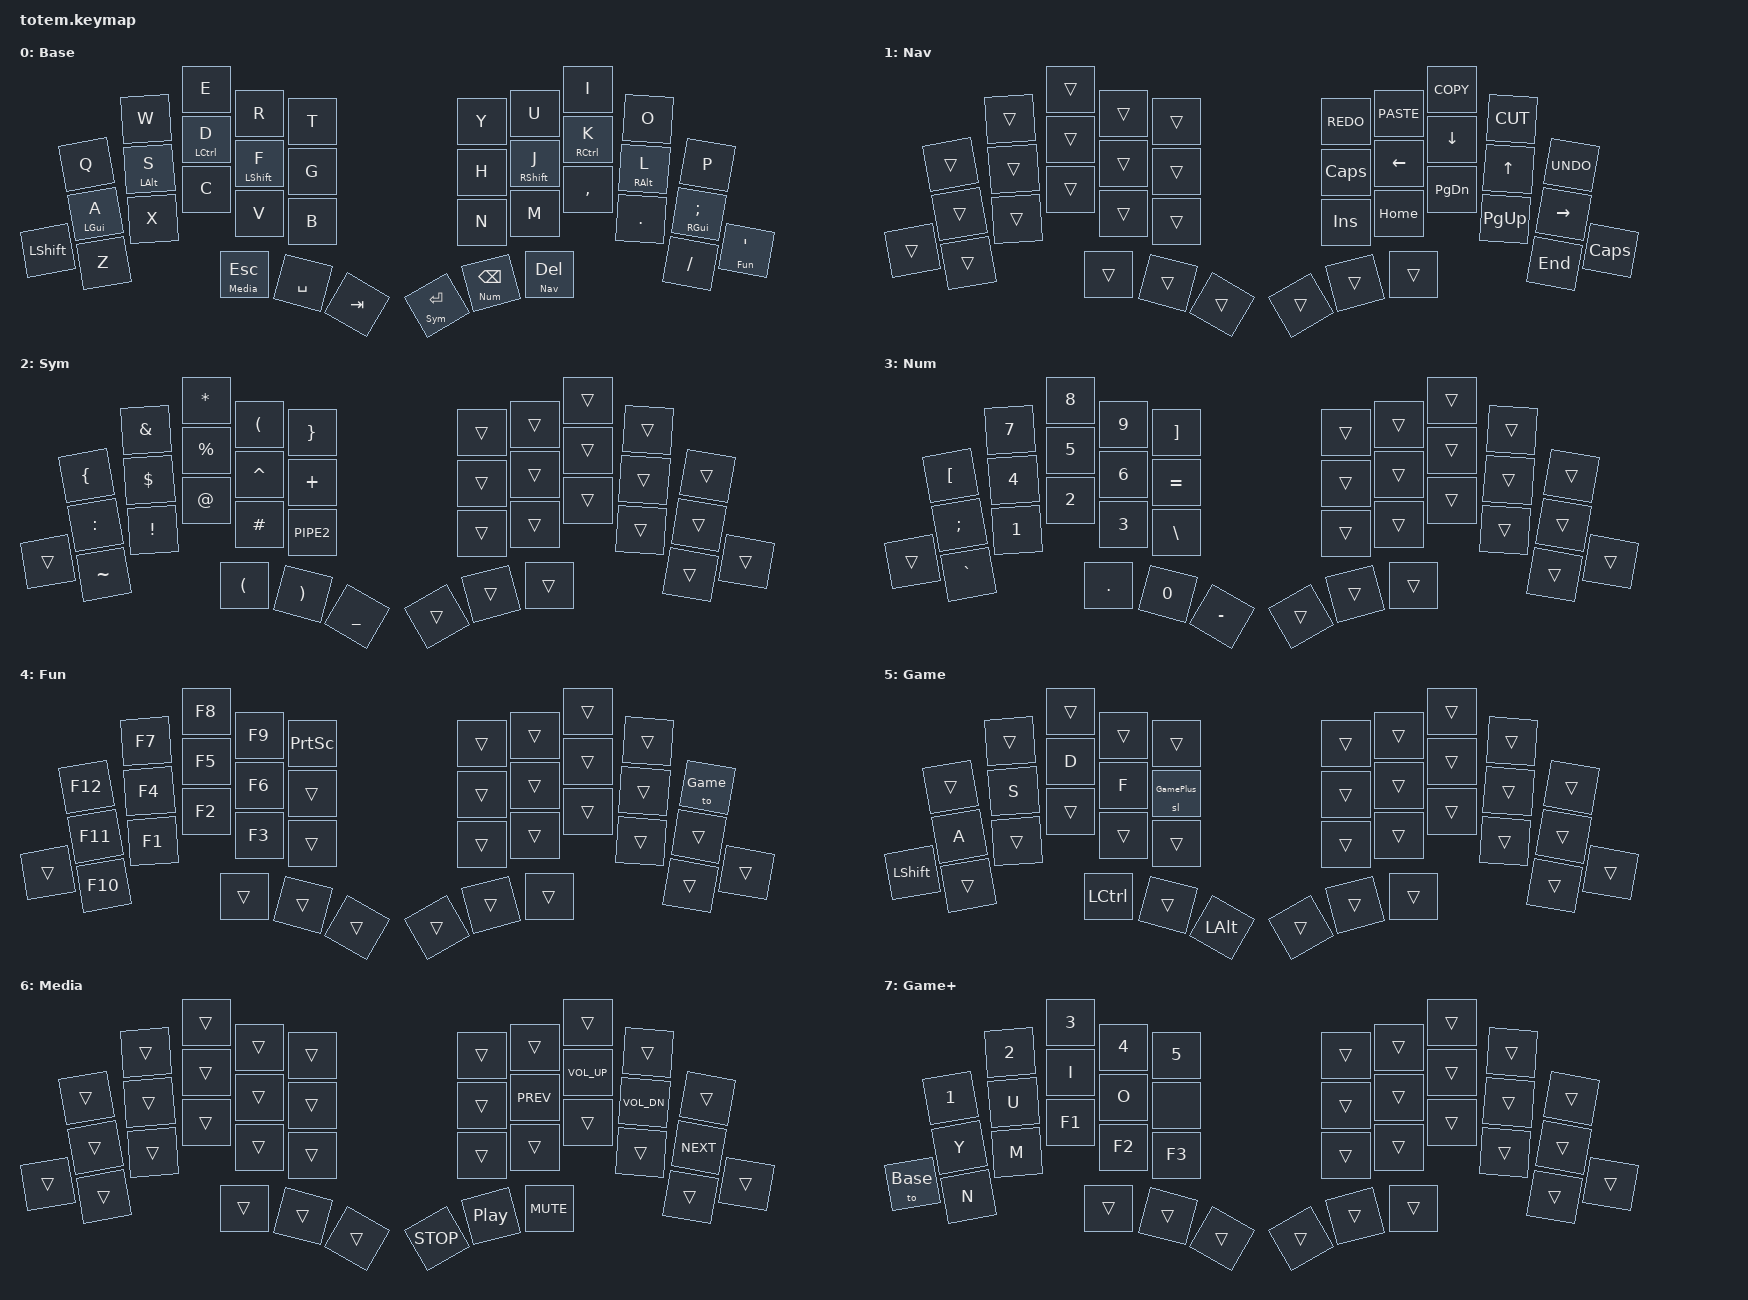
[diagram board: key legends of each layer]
//
//                                                        ▀▀▀▀▀     ▀▀▀▀▀          ▀▀█▀▀
//                                                        ▄▀▀▀▄  ▄  ▄▀▀▀▄  ▄  ▄▀▀▀▄  █  ▄▀▀▀▄
//                                                        █   █  █  █   █  █  █   █  █  █   █
//                                                         ▀▀▀   █   ▀▀▀   █   ▀▀▀   ▀   ▀▀▀
//                                                               █      ▄▄▄█▄▄▄    █   █  
//                                                               ▀      █  █  █     █▄█
//                                                             ▀▀▀▀▀    █  █  █      ▀
//                                                                      ▀  ▀  ▀
//
// ▄▄▄▄▄▄▄▄▄▄▄▄▄▄▄▄▄▄▄▄▄▄▄▄▄▄▄▄▄▄▄▄▄▄▄▄▄▄▄▄▄▄▄▄▄▄▄▄▄▄▄▄▄▄▄▄▄▄▄▄▄▄▄▄▄▄▄▄▄▄▄▄▄▄▄▄▄▄▄▄▄▄▄▄▄▄▄▄▄▄▄▄▄▄▄▄▄▄▄▄▄▄▄▄▄▄▄▄▄▄▄▄▄▄▄▄▄▄▄▄▄▄▄▄▄▄▄▄▄▄▄▄▄▄▄▄▄▄▄▄▄▄▄▄▄▄▄▄▄

#include <behaviors.dtsi>
#include <dt-bindings/zmk/bt.h>
#include <dt-bindings/zmk/ext_power.h>
#include <dt-bindings/zmk/keys.h>

#include "includes/key-labels.h"

#define Base        0
#define Nav         1
#define Sym         2
#define Num         3
#define Fun         4
#define Game        5
#define Media       6
#define GamePlus    7

&mt {
    quick-tap-ms = <100>;
    global-quick-tap;
    flavor = "tap-preferred";
    tapping-term-ms = <170>;
};

&lt {
    tapping-term-ms = <240>;
    flavor = "balanced";
    quick-tap-ms = <150>;
};

/ {
    behaviors {
        hml: homerow_mods_left {
            compatible = "zmk,behavior-hold-tap";
            #binding-cells = <2>;
            bindings =
                <&kp>,
                <&kp>;

            flavor = "balanced";
            tapping-term-ms = <190>;
            quick-tap-ms = <175>;
            require-prior-idle-ms = <150>;

            hold-trigger-key-positions = <KEYS_R KEYS_T>;
            hold-trigger-on-release;
        };

        hmr: homerow_mods_right {
            compatible = "zmk,behavior-hold-tap";
            #binding-cells = <2>;
            bindings =
                <&kp>,
                <&kp>;

            flavor = "balanced";
            tapping-term-ms = <190>;
            quick-tap-ms = <175>;
            require-prior-idle-ms = <150>;

            hold-trigger-key-positions = <KEYS_L KEYS_T>;
            hold-trigger-on-release;
        };
    };

    keymap {
        compatible = "zmk,keymap";

        Base {
            display-name = "Base";
            bindings = <
//           ┌─────────────┬─────────────┬──────────────┬─────────────┬─────┐   ┌────────────┬─────────────┬─────────────┬─────────────┬─────────────┐           
//           │      Q      │      W      │      E       │      R      │  T  │   │     Y      │      U      │      I      │      O      │      P      │           
//           ├─────────────┼─────────────┼──────────────┼─────────────┼─────┤   ├────────────┼─────────────┼─────────────┼─────────────┼─────────────┤           
//           │ &hml lgui A │ &hml lalt S │ &hml lctl D  │ &hml lsft F │  G  │   │     H      │ &hmr rsft J │ &hmr rctl K │ &hmr ralt L │ &hmr rgui ; │           
//    ┌──────┼─────────────┼─────────────┼──────────────┼─────────────┼─────┤   ├────────────┼─────────────┼─────────────┼─────────────┼─────────────┼──────────┐
//    │ lsft │      Z      │      X      │      C       │      V      │  B  │   │     N      │      M      │      ,      │      .      │      /      │ lt Fun ' │
//    └──────┴─────────────┴─────────────┼──────────────┼─────────────┼─────┤   ├────────────┼─────────────┼─────────────┼─────────────┴─────────────┴──────────┘
//                                       │ lt Media esc │     spc     │ tab │   │ lt Sym ent │ lt Num bspc │ lt Nav del  │                                       
//                                       └──────────────┴─────────────┴─────┘   └────────────┴─────────────┴─────────────┘                                       
               &kp Q         &kp W         &kp E              &kp R           &kp T         &kp Y         &kp U          &kp I          &kp O         &kp P                                   
               &hml LGUI A   &hml LALT S   &hml LCTRL D       &hml LSHIFT F   &kp G         &kp H         &hmr RSHFT J   &hmr RCTRL K   &hmr RALT L   &hmr RGUI SEMICOLON                     
  &kp LSHIFT   &kp Z         &kp X         &kp C              &kp V           &kp B         &kp N         &kp M          &kp COMMA      &kp DOT       &kp SLASH             &lt Fun APOSTROPHE
                                           &lt Media ESCAPE   &kp SPACE       &kp TAB       &lt Sym RET   &lt Num BSPC   &lt Nav DEL                                                          
            >;
        };

        Nav {
            display-name = "Nav";
            bindings = <
//          ┌─────┬─────┬─────┬─────┬─────┐   ┌───────┬─────────┬──────┬──────┬──────┐      
//          │     │     │     │     │     │   │ again │ K_PASTE │ copy │ cut  │ undo │      
//          ├─────┼─────┼─────┼─────┼─────┤   ├───────┼─────────┼──────┼──────┼──────┤      
//          │     │     │     │     │     │   │ caps  │  left   │ down │  up  │ rght │      
//    ┌─────┼─────┼─────┼─────┼─────┼─────┤   ├───────┼─────────┼──────┼──────┼──────┼─────┐
//    │     │     │     │     │     │     │   │  ins  │  home   │ pgdn │ pgup │ end  │     │
//    └─────┴─────┴─────┼─────┼─────┼─────┤   ├───────┼─────────┼──────┼──────┴──────┴─────┘
//                      │     │     │     │   │       │         │      │                    
//                      └─────┴─────┴─────┘   └───────┴─────────┴──────┘                    
           &trans   &trans   &trans   &trans   &trans       &kp K_REDO   &kp K_PASTE   &kp K_COPY   &kp K_CUT   &kp K_UNDO         
           &trans   &trans   &trans   &trans   &trans       &kp CAPS     &kp LEFT      &kp DOWN     &kp UP      &kp RIGHT          
  &trans   &trans   &trans   &trans   &trans   &trans       &kp INS      &kp HOME      &kp PG_DN    &kp PG_UP   &kp END      &kp CAPS
                             &trans   &trans   &trans       &trans       &trans        &trans                                      
            >;
        };

        Sym {
            display-name = "Sym";
            bindings = <
//          ┌───┬───┬───┬───┬───┐   ┌─────┬─────┬─────┬─────┬─────┐      
//          │ { │ & │ * │ ( │ } │   │     │     │     │     │     │      
//          ├───┼───┼───┼───┼───┤   ├─────┼─────┼─────┼─────┼─────┤      
//          │ : │ $ │ % │ ^ │ + │   │     │     │     │     │     │      
//    ┌─────┼───┼───┼───┼───┼───┤   ├─────┼─────┼─────┼─────┼─────┼─────┐
//    │     │ ~ │ ! │ @ │ # │ | │   │     │     │     │     │     │     │
//    └─────┴───┴───┼───┼───┼───┤   ├─────┼─────┼─────┼─────┴─────┴─────┘
//                  │ ( │ ) │ _ │   │     │     │     │                  
//                  └───┴───┴───┘   └─────┴─────┴─────┘                  
           &kp LBRC    &kp AMPERSAND   &kp STAR      &kp LPAR    &kp RBRC        &trans   &trans   &trans   &trans   &trans         
           &kp COLON   &kp DOLLAR      &kp PERCENT   &kp CARET   &kp PLUS        &trans   &trans   &trans   &trans   &trans         
  &trans   &kp TILDE   &kp EXCL        &kp AT        &kp HASH    &kp PIPE2       &trans   &trans   &trans   &trans   &trans   &trans
                                       &kp LPAR      &kp RPAR    &kp UNDER       &trans   &trans   &trans                           
            >;
        };

        Num {
            display-name = "Num";
            bindings = <
//          ┌───┬───┬───┬───┬───┐   ┌─────┬─────┬─────┬─────┬─────┐      
//          │ [ │ 7 │ 8 │ 9 │ ] │   │     │     │     │     │     │      
//          ├───┼───┼───┼───┼───┤   ├─────┼─────┼─────┼─────┼─────┤      
//          │ ; │ 4 │ 5 │ 6 │ = │   │     │     │     │     │     │      
//    ┌─────┼───┼───┼───┼───┼───┤   ├─────┼─────┼─────┼─────┼─────┼─────┐
//    │     │ ` │ 1 │ 2 │ 3 │ \ │   │     │     │     │     │     │     │
//    └─────┴───┴───┼───┼───┼───┤   ├─────┼─────┼─────┼─────┴─────┴─────┘
//                  │ . │ 0 │ - │   │     │     │     │                  
//                  └───┴───┴───┘   └─────┴─────┴─────┘                  
           &kp LBKT        &kp NUMBER_7   &kp NUMBER_8   &kp NUMBER_9   &kp RBKT        &trans   &trans   &trans   &trans   &trans         
           &kp SEMICOLON   &kp NUMBER_4   &kp NUMBER_5   &kp NUMBER_6   &kp EQUAL       &trans   &trans   &trans   &trans   &trans         
  &trans   &kp GRAVE       &kp NUMBER_1   &kp NUMBER_2   &kp NUMBER_3   &kp BSLH        &trans   &trans   &trans   &trans   &trans   &trans
                                          &kp DOT        &kp NUMBER_0   &kp MINUS       &trans   &trans   &trans                           
            >;
        };

        Fun {
            display-name = "Fun";
            bindings = <
//          ┌─────┬────┬─────┬─────┬──────┐   ┌─────┬─────┬─────┬─────┬─────────┐      
//          │ f12 │ f7 │ f8  │ f9  │ pscr │   │     │     │     │     │ to Game │      
//          ├─────┼────┼─────┼─────┼──────┤   ├─────┼─────┼─────┼─────┼─────────┤      
//          │ f11 │ f4 │ f5  │ f6  │      │   │     │     │     │     │         │      
//    ┌─────┼─────┼────┼─────┼─────┼──────┤   ├─────┼─────┼─────┼─────┼─────────┼─────┐
//    │     │ f10 │ f1 │ f2  │ f3  │      │   │     │     │     │     │         │     │
//    └─────┴─────┴────┼─────┼─────┼──────┤   ├─────┼─────┼─────┼─────┴─────────┴─────┘
//                     │     │     │      │   │     │     │     │                      
//                     └─────┴─────┴──────┘   └─────┴─────┴─────┘                      
           &kp F12   &kp F7   &kp F8   &kp F9   &kp PSCRN       &trans   &trans   &trans   &trans   &to Game         
           &kp F11   &kp F4   &kp F5   &kp F6   &trans          &trans   &trans   &trans   &trans   &trans           
  &trans   &kp F10   &kp F1   &kp F2   &kp F3   &trans          &trans   &trans   &trans   &trans   &trans     &trans
                              &trans   &trans   &trans          &trans   &trans   &trans                             
            >;
        };


        Game {
            bindings = <
//           ┌─────┬─────┬──────┬─────┬─────────────┐   ┌─────┬─────┬─────┬─────┬─────┐      
//           │     │     │      │     │             │   │     │     │     │     │     │      
//           ├─────┼─────┼──────┼─────┼─────────────┤   ├─────┼─────┼─────┼─────┼─────┤      
//           │  A  │  S  │  D   │  F  │ sl GamePlus │   │     │     │     │     │     │      
//    ┌──────┼─────┼─────┼──────┼─────┼─────────────┤   ├─────┼─────┼─────┼─────┼─────┼─────┐
//    │ lsft │     │     │      │     │             │   │     │     │     │     │     │     │
//    └──────┴─────┴─────┼──────┼─────┼─────────────┤   ├─────┼─────┼─────┼─────┴─────┴─────┘
//                       │ lctl │     │    lalt     │   │     │     │     │                  
//                       └──────┴─────┴─────────────┘   └─────┴─────┴─────┘                  
               &trans   &trans   &trans      &trans   &trans             &trans   &trans   &trans   &trans   &trans         
               &kp A    &kp S    &kp D       &kp F    &sl GamePlus       &trans   &trans   &trans   &trans   &trans         
  &kp LSHIFT   &trans   &trans   &trans      &trans   &trans             &trans   &trans   &trans   &trans   &trans   &trans
                                 &kp LCTRL   &trans   &kp LEFT_ALT       &trans   &trans   &trans                           
            >;

            display-name = "Game";
        };

        Media {
            bindings = <
//          ┌─────┬─────┬─────┬─────┬─────┐   ┌──────┬──────┬──────┬──────┬──────┐      
//          │     │     │     │     │     │   │      │      │      │      │      │      
//          ├─────┼─────┼─────┼─────┼─────┤   ├──────┼──────┼──────┼──────┼──────┤      
//          │     │     │     │     │     │   │      │ prev │ volu │ vold │ next │      
//    ┌─────┼─────┼─────┼─────┼─────┼─────┤   ├──────┼──────┼──────┼──────┼──────┼─────┐
//    │     │     │     │     │     │     │   │      │      │      │      │      │     │
//    └─────┴─────┴─────┼─────┼─────┼─────┤   ├──────┼──────┼──────┼──────┴──────┴─────┘
//                      │     │     │     │   │ stop │ play │ mute │                    
//                      └─────┴─────┴─────┘   └──────┴──────┴──────┘                    
           &trans   &trans   &trans   &trans   &trans       &trans       &trans       &trans         &trans         &trans             
           &trans   &trans   &trans   &trans   &trans       &trans       &kp C_PREV   &kp C_VOL_UP   &kp C_VOL_DN   &kp C_NEXT         
  &trans   &trans   &trans   &trans   &trans   &trans       &trans       &trans       &trans         &trans         &trans       &trans
                             &trans   &trans   &trans       &kp C_STOP   &kp C_PP     &kp C_MUTE                                       
            >;

            display-name = "Media";
        };

        GamePlus {
            bindings = <
//              ┌───┬───┬─────┬─────┬─────┐   ┌─────┬─────┬─────┬─────┬─────┐      
//              │ 1 │ 2 │  3  │  4  │  5  │   │     │     │     │     │     │      
//              ├───┼───┼─────┼─────┼─────┤   ├─────┼─────┼─────┼─────┼─────┤      
//              │ Y │ U │  I  │  O  │     │   │     │     │     │     │     │      
//    ┌─────────┼───┼───┼─────┼─────┼─────┤   ├─────┼─────┼─────┼─────┼─────┼─────┐
//    │ to Base │ N │ M │ f1  │ f2  │ f3  │   │     │     │     │     │     │     │
//    └─────────┴───┴───┼─────┼─────┼─────┤   ├─────┼─────┼─────┼─────┴─────┴─────┘
//                      │     │     │     │   │     │     │     │                  
//                      └─────┴─────┴─────┘   └─────┴─────┴─────┘                  
             &kp NUMBER_1   &kp NUMBER_2   &kp NUMBER_3   &kp NUMBER_4   &kp NUMBER_5       &trans   &trans   &trans   &trans   &trans         
             &kp Y          &kp U          &kp I          &kp O          &none              &trans   &trans   &trans   &trans   &trans         
  &to Base   &kp N          &kp M          &kp F1         &kp F2         &kp F3             &trans   &trans   &trans   &trans   &trans   &trans
                                           &trans         &trans         &trans             &trans   &trans   &trans                           
            >;

            display-name = "Game+";
        };
    };
};
